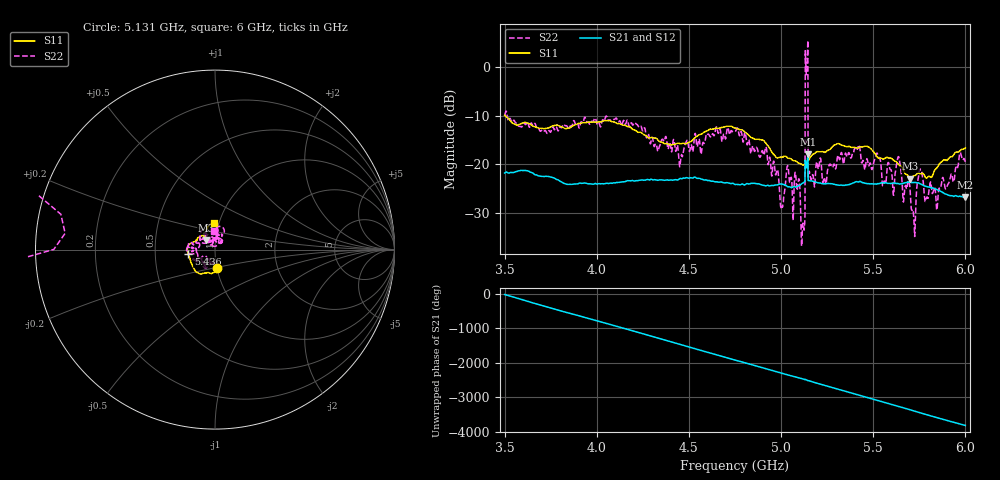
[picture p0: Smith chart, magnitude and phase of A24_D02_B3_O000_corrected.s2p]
! Created with skrf 1.9.0 (http://scikit-rf.org).
# Hz S RI R 50.0
!freq ReS11 ImS11 ReS21 ImS21 ReS12 ImS12 ReS22 ImS22
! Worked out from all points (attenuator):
!   1601 points, 3.5 GHz to 6 GHz, reference 50 ohm
!   highest |S21| = -17.97 dB at 5.145 GHz (marker M1); lowest = -26.8 dB at 6 GHz (marker M2)
!   lowest |S11| = -23.0 dB at 5.702 GHz (marker M3), VSWR 1.15, Z = 45.2 + j4.76 ohm
!   |S11| at or under -10 dB: 3.504 GHz to end of sweep
!   |S22| runs from -36.9 to 5.6 dB; largest |S21 - S12| = 0.0014
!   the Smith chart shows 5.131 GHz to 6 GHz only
!   S11 on the Smith chart (normalised r, x): 5.131 GHz: 1.01, -0.21; 5.436 GHz: 0.74, -0.04; 6 GHz: 0.94, +0.28
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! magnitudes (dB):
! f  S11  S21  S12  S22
! 3.5 GHz  -9.9  -21.8  -21.8  -9.9
! 3.917 GHz  -11.5  -23.9  -23.9  -11.2
! 4.334 GHz  -15.1  -23.3  -23.2  -17.0
! 4.75 GHz  -12.5  -24.2  -24.1  -13.1
! 4.912 GHz  -15.4  -24.4  -24.4  -17.1
! 5.003 GHz  -18.6  -24.1  -24.1  -29.1
! 5.034 GHz  -18.7  -24.6  -24.5  -20.3
! 5.088 GHz  -19.5  -24.6  -24.6  -25.3
! 5.117 GHz  -20.1  -23.9  -23.9  -32.3
! 5.131 GHz  -19.7  -19.1  -19.1  3.4
! 5.145 GHz  -19.3  -18.0  -17.9  5.6
! 5.159 GHz  -18.5  -23.4  -23.3  -22.7
! 5.167 GHz  -18.1  -23.4  -23.4  -22.7
! 5.436 GHz  -16.4  -23.6  -23.7  -19.6
! 5.559 GHz  -18.9  -23.8  -23.8  -23.5
! 5.584 GHz  -18.7  -23.9  -23.9  -19.8
! 5.639 GHz  -20.1  -24.0  -24.0  -18.5
! 5.702 GHz  -23.0  -23.7  -23.7  -26.3
! 5.719 GHz  -22.4  -23.8  -23.7  -30.4
! 5.755 GHz  -22.0  -24.0  -23.9  -21.0
! 5.85 GHz  -20.5  -25.3  -25.2  -27.5
! 6 GHz  -16.6  -26.8  -26.8  -19.6
